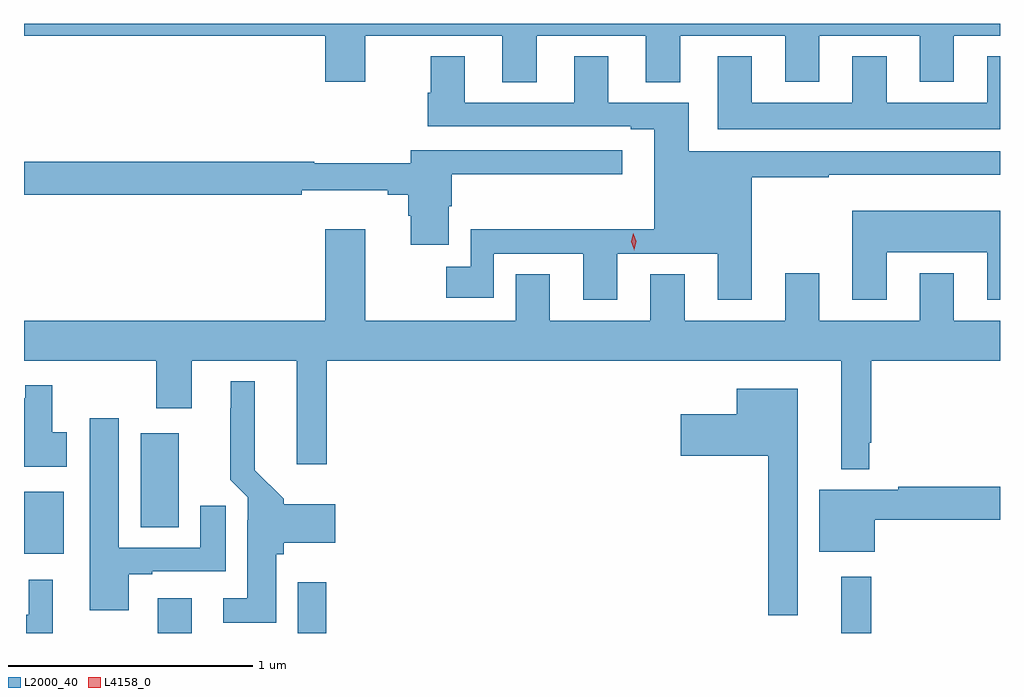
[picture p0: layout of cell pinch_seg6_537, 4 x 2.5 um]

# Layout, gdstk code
import gdstk
lib = gdstk.Library(unit=1e-6, precision=1e-09)
def R(c, l, rs):  # rectangles x0, y0, x1, y1
    for r in rs: c.add(gdstk.rectangle(r[:2], r[2:], *l))
def P(c, l, *ps):  # polygons
    for p in ps: c.add(gdstk.Polygon(p, *l))
L2000_40 = (2000, 40)
L4158_0 = (4158, 0)

pinch_seg6_537 = lib.new_cell('pinch_seg6_537')
R(pinch_seg6_537, L2000_40, [(619.865,995.504,620.005,995.647), (620.439,995.504,620.555,995.713), (622.667,995.504,622.789,995.734), (619.317,995.828,619.48,996.082), (619.796,995.938,619.951,996.322)])
P(pinch_seg6_537, L2000_40, [(619.317,997.952),(620.552,997.952),(620.552,997.764),(620.716,997.764),(620.716,997.952),(621.278,997.952),(621.278,997.762),(621.418,997.762),(621.418,997.952),(621.866,997.952),(621.866,997.762),(622.006,997.762),(622.006,997.952),(622.436,997.952),(622.436,997.763),(622.576,997.763),(622.576,997.952),(622.988,997.952),(622.988,997.763),(623.128,997.763),(623.128,997.952),(623.317,997.952),(623.317,998),(619.317,998)],
  [(623.317,997.867),(623.264,997.867),(623.264,997.678),(622.852,997.678),(622.852,997.867),(622.712,997.867),(622.712,997.678),(622.3,997.678),(622.3,997.867),(622.16,997.867),(622.16,997.568),(623.317,997.568)],
  [(621.748,997.059),(622.16,997.059),(622.16,996.87),(622.3,996.87),(622.3,997.371),(622.616,997.371),(622.616,997.382),(623.317,997.382),(623.317,997.479),(622.042,997.479),(622.042,997.677),(621.712,997.677),(621.712,997.867),(621.572,997.867),(621.572,997.677),(621.124,997.677),(621.124,997.867),(620.984,997.867),(620.984,997.719),(620.972,997.719),(620.972,997.581),(621.803,997.581),(621.803,997.569),(621.899,997.569),(621.899,997.158),(621.147,997.158),(621.147,997.006),(621.048,997.006),(621.048,996.878),(621.243,996.878),(621.243,997.059),(621.608,997.059),(621.608,996.87),(621.748,996.87)],
  [(621.058,997.252),(621.071,997.252),(621.071,997.384),(621.769,997.384),(621.769,997.482),(620.903,997.482),(620.903,997.429),(620.507,997.429),(620.507,997.436),(619.317,997.436),(619.317,997.3),(620.456,997.3),(620.456,997.319),(620.807,997.319),(620.807,997.3),(620.891,997.3),(620.891,997.215),(620.903,997.215),(620.903,997.095),(621.058,997.095)],
  [(622.852,997.064),(623.264,997.064),(623.264,996.87),(623.317,996.87),(623.317,997.234),(622.712,997.234),(622.712,996.87),(622.852,996.87)],
  [(622.576,996.979),(622.436,996.979),(622.436,996.784),(622.024,996.784),(622.024,996.974),(621.884,996.974),(621.884,996.784),(621.472,996.784),(621.472,996.974),(621.332,996.974),(621.332,996.784),(620.716,996.784),(620.716,997.159),(620.552,997.159),(620.552,996.784),(619.317,996.784),(619.317,996.62),(619.858,996.62),(619.858,996.426),(620.005,996.426),(620.005,996.62),(620.435,996.62),(620.435,996.195),(620.558,996.195),(620.558,996.62),(622.667,996.62),(622.667,996.176),(622.782,996.176),(622.782,996.283),(622.789,996.283),(622.789,996.62),(623.317,996.62),(623.317,996.784),(623.128,996.784),(623.128,996.979),(622.988,996.979),(622.988,996.784),(622.576,996.784)],
  [(620.35,995.826),(620.381,995.826),(620.381,995.873),(620.593,995.873),(620.593,996.031),(620.381,996.031),(620.381,996.054),(620.263,996.172),(620.263,996.535),(620.165,996.535),(620.165,996.425),(620.162,996.425),(620.162,996.133),(620.235,996.06),(620.235,995.966),(620.231,995.966),(620.231,995.647),(620.133,995.647),(620.133,995.546),(620.35,995.546)],
  [(619.492,996.327),(619.432,996.327),(619.432,996.52),(619.323,996.52),(619.323,996.466),(619.317,996.466),(619.317,996.185),(619.492,996.185)],
  [(622.489,996.505),(622.238,996.505),(622.238,996.4),(622.008,996.4),(622.008,996.23),(622.368,996.23),(622.368,995.577),(622.489,995.577)],
  [(619.747,995.745),(619.843,995.745),(619.843,995.757),(620.143,995.757),(620.143,996.025),(620.039,996.025),(620.039,995.853),(619.705,995.853),(619.705,996.385),(619.586,996.385),(619.586,995.598),(619.747,995.598)],
  [(622.804,995.968),(623.317,995.968),(623.317,996.104),(622.9,996.104),(622.9,996.091),(622.577,996.091),(622.577,995.837),(622.804,995.837)],
  [(619.435,995.722),(619.337,995.722),(619.337,995.579),(619.326,995.579),(619.326,995.504),(619.435,995.504)])
P(pinch_seg6_537, L4158_0, [(621.818,997.073),(621.817,997.074),(621.806,997.108),(621.813,997.143),(621.813,997.143),(621.813,997.143),(621.826,997.109),(621.818,997.074)])

lib.write_gds('pinch_seg6_537.gds')
